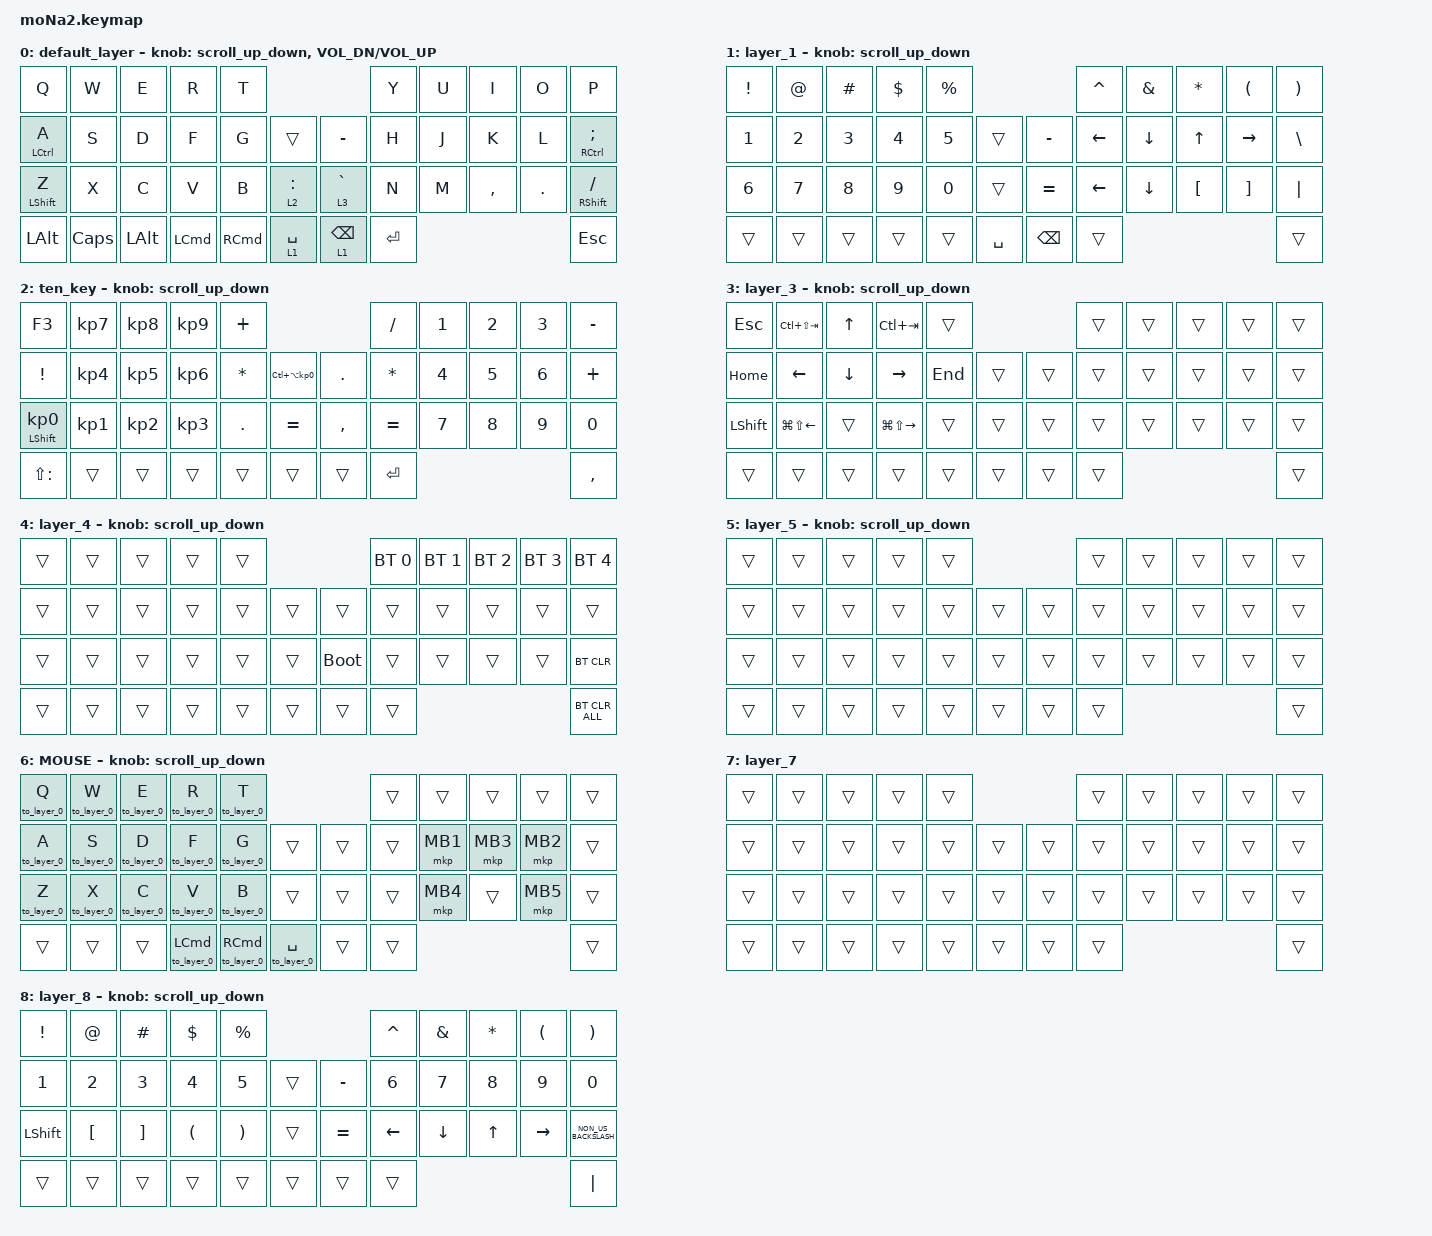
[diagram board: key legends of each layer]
#include <behaviors.dtsi>
#include <dt-bindings/zmk/bt.h>
#include <dt-bindings/zmk/keys.h>
#include <dt-bindings/zmk/pointing.h>

#define ZMK_POINTING_DEFAULT_SCRL_VAL 100
#define MOUSE 6

&mt {
    flavor = "balanced";
    quick-tap-ms = <0>;
};

/ {
    combos {
        compatible = "zmk,combos";

        tab {
            bindings = <&kp TAB>;
            key-positions = <11 12>;
        };

        shift_tab {
            bindings = <&kp LS(TAB)>;
            key-positions = <12 13>;
        };

        double_quote {
            bindings = <&kp DOUBLE_QUOTES>;
            key-positions = <19 20>;
        };

        equal {
            bindings = <&kp EQUAL>;
            key-positions = <8 9>;
        };

        single_quote {
            bindings = <&kp SINGLE_QUOTE>;
            key-positions = <20 21>;
        };

        minus {
            bindings = <&kp MINUS>;
            key-positions = <7 8>;
        };

        mission_control {
            bindings = <&kp F3>;
            key-positions = <13 14>;
        };
    };

    macros {
        to_layer_0: to_layer_0 {
            compatible = "zmk,behavior-macro-one-param";
            #binding-cells = <1>;
            bindings = <&to 0 &macro_param_1to1 &kp MACRO_PLACEHOLDER>;
            label = "TO_LAYER_0";
        };
    };

    behaviors {
        lt_to_layer_0: lt_to_layer_0 {
            compatible = "zmk,behavior-hold-tap";
            label = "LAYER_TAP_TO_0";
            bindings = <&mo>, <&to_layer_0>;

            #binding-cells = <2>;
            tapping-term-ms = <200>;
        };

        scroll_up_down: behavior_sensor_rotate_mouse_wheel_up_down {
            compatible = "zmk,behavior-sensor-rotate";
            #sensor-binding-cells = <0>;
            bindings = <&msc SCRL_UP>, <&msc SCRL_DOWN>;

            tap-ms = <20>;
        };
    };

    keymap {
        compatible = "zmk,keymap";

        default_layer {
            bindings = <
&kp Q               &kp W     &kp E         &kp R             &kp T                                              &kp Y      &kp U  &kp I      &kp O    &kp P
&mt LEFT_CONTROL A  &kp S     &kp D         &kp F             &kp G              &trans         &kp MINUS        &kp H      &kp J  &kp K      &kp L    &mt RIGHT_CONTROL SEMI
&mt LEFT_SHIFT Z    &kp X     &kp C         &kp V             &kp B              &lt 2 COLON    &lt 3 GRAVE      &kp N      &kp M  &kp COMMA  &kp DOT  &mt RIGHT_SHIFT SLASH
&kp LEFT_ALT        &kp CAPS  &kp LEFT_ALT  &kp LEFT_COMMAND  &kp RIGHT_COMMAND  &lt 1 SPACE    &lt 1 BACKSPACE  &kp ENTER                             &kp ESCAPE
            >;

            sensor-bindings =
                <&scroll_up_down>,
                <&inc_dec_kp C_VOL_DN C_VOL_UP>;
        };

        layer_1 {
            bindings = <
&kp EXCLAMATION  &kp AT_SIGN   &kp HASH      &kp DOLLAR    &kp PERCENT                              &kp CARET  &kp AMPERSAND  &kp ASTERISK      &kp LEFT_PARENTHESIS  &kp RIGHT_PARENTHESIS
&kp NUMBER_1     &kp NUMBER_2  &kp NUMBER_3  &kp NUMBER_4  &kp N5       &trans       &kp MINUS      &kp LEFT   &kp DOWN       &kp UP            &kp RIGHT             &kp BSLH
&kp N6           &kp N7        &kp N8        &kp N9        &kp N0       &trans       &kp EQUAL      &kp LEFT   &kp DOWN       &kp LEFT_BRACKET  &kp RIGHT_BRACKET     &kp PIPE
&trans           &trans        &trans        &trans        &trans       &kp SPACE    &kp BACKSPACE  &trans                                                            &trans
            >;

            sensor-bindings = <&scroll_up_down>;
        };

        ten_key {
            bindings = <
&kp F3                      &kp KP_NUMBER_7  &kp KP_NUMBER_8  &kp KP_NUMBER_9  &kp PLUS                                             &kp SLASH     &kp N1  &kp N2  &kp N3  &kp MINUS
&kp EXCLAMATION             &kp KP_NUMBER_4  &kp KP_NUMBER_5  &kp KP_NUMBER_6  &kp ASTERISK  &kp LC(LA(KP_NUMBER_0))    &kp PERIOD  &kp ASTERISK  &kp N4  &kp N5  &kp N6  &kp PLUS
&mt LEFT_SHIFT KP_NUMBER_0  &kp KP_NUMBER_1  &kp KP_NUMBER_2  &kp KP_NUMBER_3  &kp PERIOD    &kp EQUAL                  &kp COMMA   &kp EQUAL     &kp N7  &kp N8  &kp N9  &kp N0
&kp LS(COLON)               &trans           &trans           &trans           &trans        &trans                     &trans      &kp ENTER                             &kp COMMA
            >;

            sensor-bindings = <&scroll_up_down>;
        };

        layer_3 {
            bindings = <
&kp ESCAPE      &kp LC(LS(TAB))         &kp UP_ARROW    &kp LC(TAB)              &trans                     &trans  &trans  &trans  &trans  &trans
&kp HOME        &kp LEFT_ARROW          &kp DOWN_ARROW  &kp RIGHT_ARROW          &kp END  &trans    &trans  &trans  &trans  &trans  &trans  &trans
&kp LEFT_SHIFT  &kp LG(LS(LEFT_ARROW))  &trans          &kp LG(LS(RIGHT_ARROW))  &trans   &trans    &trans  &trans  &trans  &trans  &trans  &trans
&trans          &trans                  &trans          &trans                   &trans   &trans    &trans  &trans                          &trans
            >;

            sensor-bindings = <&scroll_up_down>;
        };

        layer_4 {
            bindings = <
&trans  &trans  &trans  &trans  &trans                         &bt BT_SEL 0  &bt BT_SEL 1  &bt BT_SEL 2  &bt BT_SEL 3  &bt BT_SEL 4
&trans  &trans  &trans  &trans  &trans  &trans    &trans       &trans        &trans        &trans        &trans        &trans
&trans  &trans  &trans  &trans  &trans  &trans    &bootloader  &trans        &trans        &trans        &trans        &bt BT_CLR
&trans  &trans  &trans  &trans  &trans  &trans    &trans       &trans                                                  &bt BT_CLR_ALL
            >;

            sensor-bindings = <&scroll_up_down>;
        };

        layer_5 {
            bindings = <
&trans  &trans  &trans  &trans  &trans                    &trans  &trans  &trans  &trans  &trans
&trans  &trans  &trans  &trans  &trans  &trans    &trans  &trans  &trans  &trans  &trans  &trans
&trans  &trans  &trans  &trans  &trans  &trans    &trans  &trans  &trans  &trans  &trans  &trans
&trans  &trans  &trans  &trans  &trans  &trans    &trans  &trans                          &trans
            >;

            sensor-bindings = <&scroll_up_down>;
        };

        MOUSE {
            bindings = <
&to_layer_0 Q  &to_layer_0 W  &to_layer_0 E  &to_layer_0 R             &to_layer_0 T                                           &trans  &trans    &trans    &trans    &trans
&to_layer_0 A  &to_layer_0 S  &to_layer_0 D  &to_layer_0 F             &to_layer_0 G              &trans               &trans  &trans  &mkp MB1  &mkp MB3  &mkp MB2  &trans
&to_layer_0 Z  &to_layer_0 X  &to_layer_0 C  &to_layer_0 V             &to_layer_0 B              &trans               &trans  &trans  &mkp MB4  &trans    &mkp MB5  &trans
&trans         &trans         &trans         &to_layer_0 LEFT_COMMAND  &to_layer_0 RIGHT_COMMAND  &to_layer_0 SPACE    &trans  &trans                                &trans
            >;

            sensor-bindings = <&scroll_up_down>;
        };

        layer_7 {
            bindings = <
&trans  &trans  &trans  &trans  &trans                    &trans  &trans  &trans  &trans  &trans
&trans  &trans  &trans  &trans  &trans  &trans    &trans  &trans  &trans  &trans  &trans  &trans
&trans  &trans  &trans  &trans  &trans  &trans    &trans  &trans  &trans  &trans  &trans  &trans
&trans  &trans  &trans  &trans  &trans  &trans    &trans  &trans                          &trans
            >;
        };

        layer_8 {
            bindings = <
&kp EXCLAMATION  &kp AT_SIGN       &kp HASH           &kp DOLLAR            &kp PERCENT                                 &kp CARET       &kp AMPERSAND  &kp ASTERISK  &kp LEFT_PARENTHESIS  &kp RIGHT_PARENTHESIS
&kp NUMBER_1     &kp NUMBER_2      &kp NUMBER_3       &kp NUMBER_4          &kp N5                 &trans    &kp MINUS  &kp NUMBER_6    &kp N7         &kp N8        &kp N9                &kp N0
&kp LEFT_SHIFT   &kp LEFT_BRACKET  &kp RIGHT_BRACKET  &kp LEFT_PARENTHESIS  &kp RIGHT_PARENTHESIS  &trans    &kp EQUAL  &kp LEFT_ARROW  &kp DOWN       &kp UP_ARROW  &kp RIGHT             &kp NON_US_BACKSLASH
&trans           &trans            &trans             &trans                &trans                 &trans    &trans     &trans                                                             &kp PIPE
            >;

            sensor-bindings = <&scroll_up_down>;
        };
    };
};
